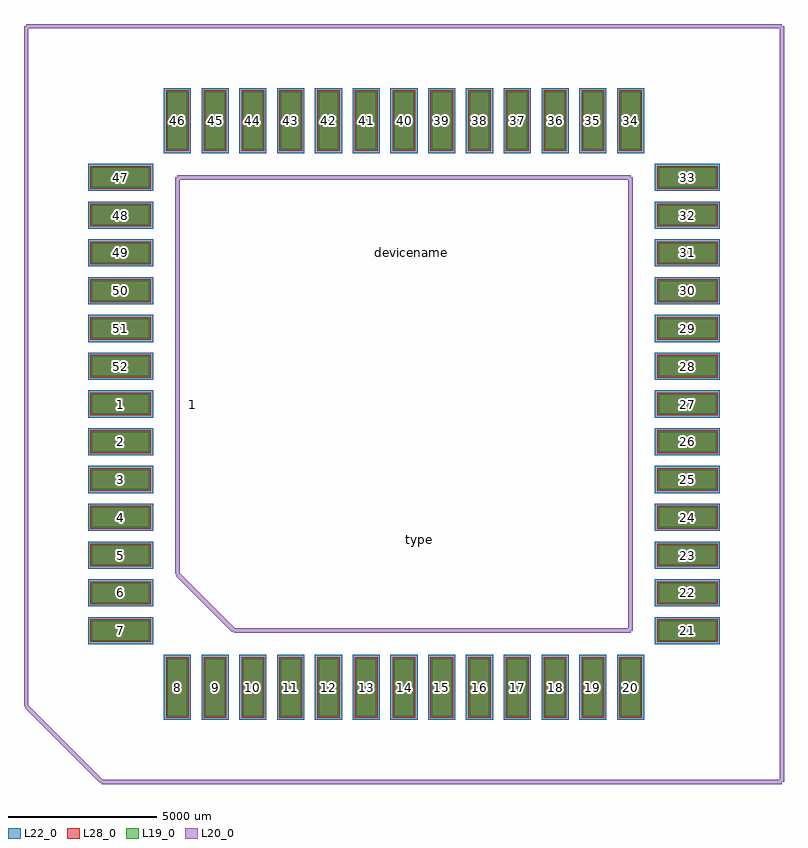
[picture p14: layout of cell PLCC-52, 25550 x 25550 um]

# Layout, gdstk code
import gdstk
lib = gdstk.Library(unit=1e-6, precision=1e-09)
def R(c, l, rs):  # rectangles x0, y0, x1, y1
    for r in rs: c.add(gdstk.rectangle(r[:2], r[2:], *l))
def A(c, l, x, y, w, h, nx, ny, dx, dy):  # array of equal rectangles
    R(c, l, [(x+i*dx, y+j*dy, x+i*dx+w, y+j*dy+h) for i in range(nx) for j in range(ny)])
L19_0 = (19, 0)
L20_0 = (20, 0)
L22_0 = (22, 0)
L28_0 = (28, 0)

plcc_52 = lib.new_cell('PLCC-52')
A(plcc_52, L19_0, -7951, -10491, 662, 1932, 13, 2, 1270, 19050)
A(plcc_52, L19_0, -10491, -7951, 1932, 662, 1, 13, 0, 1270)
A(plcc_52, L19_0, 8559, -7951, 1932, 662, 1, 13, 0, 1270)
A(plcc_52, L22_0, -8076, -10616, 912, 2182, 13, 2, 1270, 19050)
A(plcc_52, L22_0, -10616, -8076, 2182, 912, 1, 13, 0, 1270)
A(plcc_52, L22_0, 8434, -8076, 2182, 912, 1, 13, 0, 1270)
A(plcc_52, L28_0, -8001, -10541, 762, 2032, 13, 2, 1270, 19050)
A(plcc_52, L28_0, -10541, -8001, 2032, 762, 1, 13, 0, 1270)
A(plcc_52, L28_0, 8509, -8001, 2032, 762, 1, 13, 0, 1270)
plcc_52.add(gdstk.FlexPath([(-12700,-10160),(-12700,12700)], 149.998, ends="flush", simple_path=True, layer=20, datatype=0))  # L20_0
plcc_52.add(gdstk.FlexPath([(-10160,-12700),(12700,-12700)], 149.998, ends="flush", simple_path=True, layer=20, datatype=0))  # L20_0
plcc_52.add(gdstk.FlexPath([(-10160,-12700),(-12700,-10160)], 149.998, ends="flush", simple_path=True, layer=20, datatype=0))  # L20_0
plcc_52.add(gdstk.FlexPath([(12700,12700),(12700,-12700)], 149.998, ends="flush", simple_path=True, layer=20, datatype=0))  # L20_0
plcc_52.add(gdstk.FlexPath([(-12700,12700),(12700,12700)], 149.998, ends="flush", simple_path=True, layer=20, datatype=0))  # L20_0
plcc_52.add(gdstk.FlexPath([(-7620,-5715),(-7620,7620)], 149.998, ends="flush", simple_path=True, layer=20, datatype=0))  # L20_0
plcc_52.add(gdstk.FlexPath([(-5715,-7620),(-7620,-5715)], 149.998, ends="flush", simple_path=True, layer=20, datatype=0))  # L20_0
plcc_52.add(gdstk.FlexPath([(7620,-7620),(-5715,-7620)], 149.998, ends="flush", simple_path=True, layer=20, datatype=0))  # L20_0
plcc_52.add(gdstk.FlexPath([(7620,7620),(7620,-7620)], 149.998, ends="flush", simple_path=True, layer=20, datatype=0))  # L20_0
plcc_52.add(gdstk.FlexPath([(-7620,7620),(7620,7620)], 149.998, ends="flush", simple_path=True, layer=20, datatype=0))  # L20_0
plcc_52.add(gdstk.Label('52', (-9525,1270), layer=28, texttype=0))
plcc_52.add(gdstk.Label('51', (-9525,2540), layer=28, texttype=0))
plcc_52.add(gdstk.Label('50', (-9525,3810), layer=28, texttype=0))
plcc_52.add(gdstk.Label('49', (-9525,5080), layer=28, texttype=0))
plcc_52.add(gdstk.Label('48', (-9525,6350), layer=28, texttype=0))
plcc_52.add(gdstk.Label('47', (-9525,7620), layer=28, texttype=0))
plcc_52.add(gdstk.Label('46', (-7620,9525), layer=28, texttype=0))
plcc_52.add(gdstk.Label('45', (-6350,9525), layer=28, texttype=0))
plcc_52.add(gdstk.Label('44', (-5080,9525), layer=28, texttype=0))
plcc_52.add(gdstk.Label('43', (-3810,9525), layer=28, texttype=0))
plcc_52.add(gdstk.Label('42', (-2540,9525), layer=28, texttype=0))
plcc_52.add(gdstk.Label('41', (-1270,9525), layer=28, texttype=0))
plcc_52.add(gdstk.Label('40', (0,9525), layer=28, texttype=0))
plcc_52.add(gdstk.Label('39', (1270,9525), layer=28, texttype=0))
plcc_52.add(gdstk.Label('38', (2540,9525), layer=28, texttype=0))
plcc_52.add(gdstk.Label('37', (3810,9525), layer=28, texttype=0))
plcc_52.add(gdstk.Label('36', (5080,9525), layer=28, texttype=0))
plcc_52.add(gdstk.Label('35', (6350,9525), layer=28, texttype=0))
plcc_52.add(gdstk.Label('34', (7620,9525), layer=28, texttype=0))
plcc_52.add(gdstk.Label('33', (9525,7620), layer=28, texttype=0))
plcc_52.add(gdstk.Label('32', (9525,6350), layer=28, texttype=0))
plcc_52.add(gdstk.Label('31', (9525,5080), layer=28, texttype=0))
plcc_52.add(gdstk.Label('30', (9525,3810), layer=28, texttype=0))
plcc_52.add(gdstk.Label('29', (9525,2540), layer=28, texttype=0))
plcc_52.add(gdstk.Label('28', (9525,1270), layer=28, texttype=0))
plcc_52.add(gdstk.Label('27', (9525,0), layer=28, texttype=0))
plcc_52.add(gdstk.Label('26', (9525,-1270), layer=28, texttype=0))
plcc_52.add(gdstk.Label('25', (9525,-2540), layer=28, texttype=0))
plcc_52.add(gdstk.Label('24', (9525,-3810), layer=28, texttype=0))
plcc_52.add(gdstk.Label('23', (9525,-5080), layer=28, texttype=0))
plcc_52.add(gdstk.Label('22', (9525,-6350), layer=28, texttype=0))
plcc_52.add(gdstk.Label('21', (9525,-7620), layer=28, texttype=0))
plcc_52.add(gdstk.Label('20', (7620,-9525), layer=28, texttype=0))
plcc_52.add(gdstk.Label('19', (6350,-9525), layer=28, texttype=0))
plcc_52.add(gdstk.Label('18', (5080,-9525), layer=28, texttype=0))
plcc_52.add(gdstk.Label('17', (3810,-9525), layer=28, texttype=0))
plcc_52.add(gdstk.Label('16', (2540,-9525), layer=28, texttype=0))
plcc_52.add(gdstk.Label('15', (1270,-9525), layer=28, texttype=0))
plcc_52.add(gdstk.Label('14', (0,-9525), layer=28, texttype=0))
plcc_52.add(gdstk.Label('13', (-1270,-9525), layer=28, texttype=0))
plcc_52.add(gdstk.Label('12', (-2540,-9525), layer=28, texttype=0))
plcc_52.add(gdstk.Label('11', (-3810,-9525), layer=28, texttype=0))
plcc_52.add(gdstk.Label('10', (-5080,-9525), layer=28, texttype=0))
plcc_52.add(gdstk.Label('9', (-6350,-9525), layer=28, texttype=0))
plcc_52.add(gdstk.Label('8', (-7620,-9525), layer=28, texttype=0))
plcc_52.add(gdstk.Label('7', (-9525,-7620), layer=28, texttype=0))
plcc_52.add(gdstk.Label('6', (-9525,-6350), layer=28, texttype=0))
plcc_52.add(gdstk.Label('5', (-9525,-5080), layer=28, texttype=0))
plcc_52.add(gdstk.Label('4', (-9525,-3810), layer=28, texttype=0))
plcc_52.add(gdstk.Label('3', (-9525,-2540), layer=28, texttype=0))
plcc_52.add(gdstk.Label('2', (-9525,-1270), layer=28, texttype=0))
plcc_52.add(gdstk.Label('1', (-9525,0), layer=28, texttype=0))
plcc_52.add(gdstk.Label('1', (-7112,0), layer=9, texttype=0))
plcc_52.add(gdstk.Label('type', (508,-4572), layer=9, texttype=0))
plcc_52.add(gdstk.Label('devicename', (254,5080), layer=9, texttype=0))

lib.write_gds('PLCC-52.gds')
